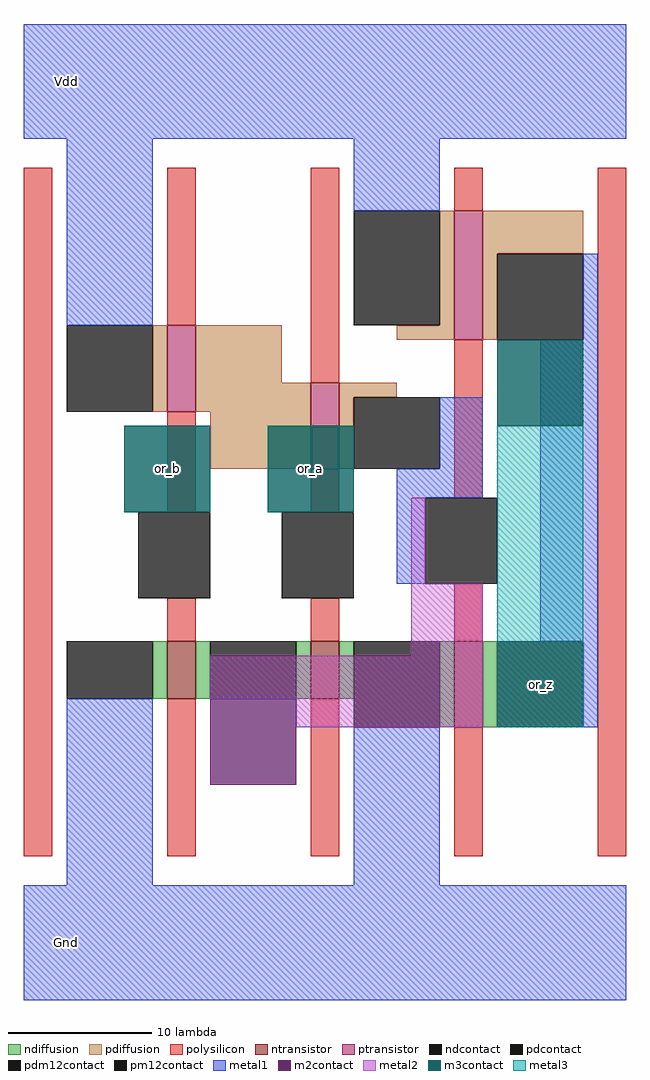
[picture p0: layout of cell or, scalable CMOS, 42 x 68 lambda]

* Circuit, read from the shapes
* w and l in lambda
.subckt or Gnd Vdd or_a or_b or_z
M1 n1 or_b Gnd VSUBS nfet w=4 l=2
M2 Gnd or_a n1 VSUBS nfet w=4 l=2
M3 or_z n1 Gnd VSUBS nfet w=6 l=2
M4 n2 or_b Vdd NWELL pfet w=6 l=2
M5 n1 or_a n2 NWELL pfet w=6 l=2
M6 or_z n1 Vdd NWELL pfet w=9 l=2
.ends

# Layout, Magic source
magic
tech scmos
<< ntransistor >>
rect 10 25 12 29
rect 20 25 22 29
rect 30 23 32 29
<< ptransistor >>
rect 10 45 12 51
rect 30 50 32 59
rect 20 41 22 47
<< ndiffusion >>
rect 9 25 10 29
rect 12 25 13 29
rect 19 25 20 29
rect 22 25 23 29
rect 29 23 30 29
rect 32 23 33 29
<< pdiffusion >>
rect 9 45 10 51
rect 12 47 18 51
rect 29 51 30 59
rect 26 50 30 51
rect 32 56 39 59
rect 32 50 33 56
rect 12 45 20 47
rect 13 41 20 45
rect 22 46 26 47
rect 22 41 23 46
<< ndcontact >>
rect 3 25 9 29
rect 13 25 19 29
rect 23 23 29 29
rect 33 23 39 29
<< pdcontact >>
rect 3 45 9 51
rect 23 51 29 59
rect 23 41 29 46
<< polysilicon >>
rect 0 14 2 62
rect 10 51 12 62
rect 20 47 22 62
rect 30 59 32 62
rect 10 38 12 45
rect 20 38 22 41
rect 30 39 32 50
rect 10 29 12 32
rect 20 29 22 32
rect 30 29 32 33
rect 10 14 12 25
rect 20 14 22 25
rect 30 14 32 23
rect 40 14 42 62
<< metal1 >>
rect 0 64 42 72
rect 3 51 9 64
rect 23 59 29 64
rect 39 50 40 56
rect 29 41 32 46
rect 26 39 32 41
rect 26 33 28 39
rect 36 29 40 50
rect 3 12 9 25
rect 39 23 40 29
rect 23 12 29 23
rect 0 4 42 12
<< m2contact >>
rect 13 19 19 25
<< pm12contact >>
rect 8 32 13 38
rect 18 32 23 38
rect 28 33 33 39
<< pdm12contact >>
rect 33 50 39 56
<< metal2 >>
rect 27 33 28 39
rect 27 28 32 33
rect 13 25 32 28
rect 19 23 32 25
<< m3contact >>
rect 33 44 39 50
rect 7 38 13 44
rect 17 38 23 44
<< metal3 >>
rect 33 23 39 44
<< labels >>
rlabel metal1 3 68 3 68 4 Vdd
rlabel metal1 3 8 3 8 2 Gnd
rlabel m3contact 20 41 20 41 1 or_a
rlabel m3contact 10 41 10 41 1 or_b
rlabel metal3 36 26 36 26 1 or_z
<< end >>
